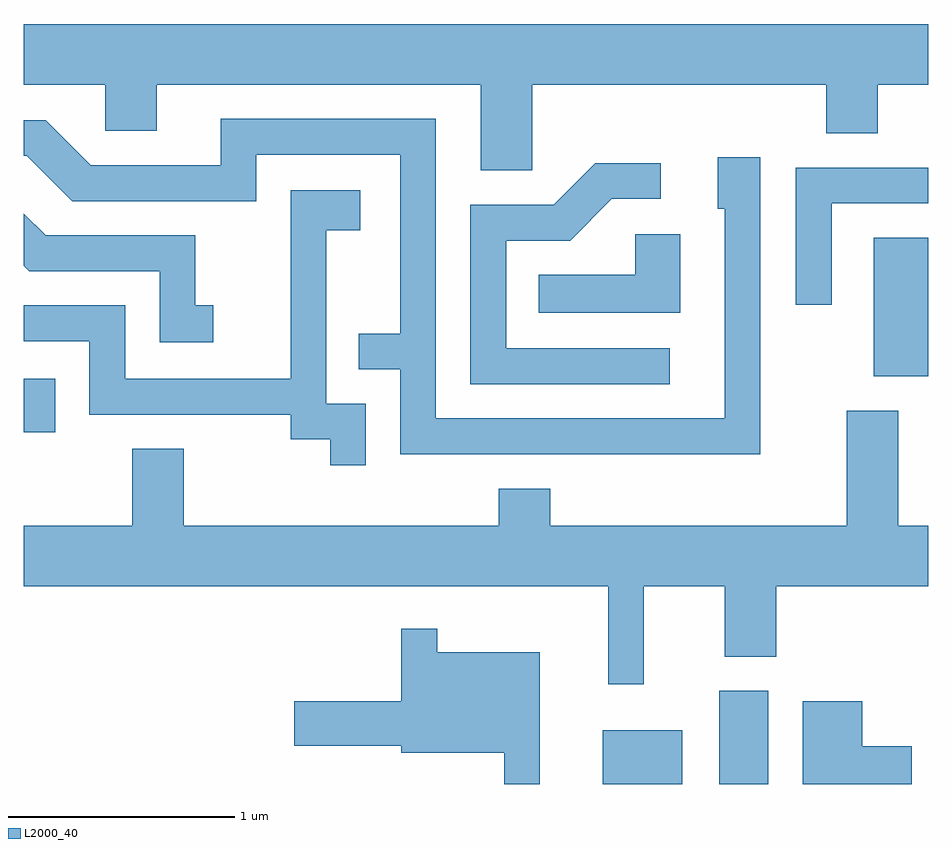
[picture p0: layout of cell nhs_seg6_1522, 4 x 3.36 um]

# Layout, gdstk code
import gdstk
lib = gdstk.Library(unit=1e-6, precision=1e-09)
def R(c, l, rs):  # rectangles x0, y0, x1, y1
    for r in rs: c.add(gdstk.rectangle(r[:2], r[2:], *l))
def P(c, l, *ps):  # polygons
    for p in ps: c.add(gdstk.Polygon(p, *l))
L2000_40 = (2000, 40)

nhs_seg6_1522 = lib.new_cell('nhs_seg6_1522')
R(nhs_seg6_1522, L2000_40, [(232.171,1660.162,232.524,1660.399), (232.686,1660.162,232.904,1660.574), (229.611,1661.718,229.749,1661.954), (233.371,1661.966,233.611,1662.579)])
P(nhs_seg6_1522, L2000_40, [(231.859,1663.256),(233.161,1663.256),(233.161,1663.041),(233.389,1663.041),(233.389,1663.256),(233.611,1663.256),(233.611,1663.524),(229.611,1663.524),(229.611,1663.256),(229.971,1663.256),(229.971,1663.051),(230.199,1663.051),(230.199,1663.256),(231.631,1663.256),(231.631,1662.876),(231.859,1662.876)],
  [(232.869,1662.934),(232.681,1662.934),(232.681,1662.706),(232.711,1662.706),(232.711,1661.779),(231.434,1661.779),(231.434,1663.104),(230.481,1663.104),(230.481,1662.899),(229.907,1662.899),(229.707,1663.099),(229.611,1663.099),(229.611,1662.941),(229.624,1662.941),(229.824,1662.741),(230.639,1662.741),(230.639,1662.946),(231.276,1662.946),(231.276,1662.154),(231.093,1662.154),(231.093,1661.996),(231.276,1661.996),(231.276,1661.621),(232.869,1661.621)],
  [(232.468,1662.089),(231.744,1662.089),(231.744,1662.566),(232.027,1662.566),(232.212,1662.751),(232.428,1662.751),(232.428,1662.909),(232.139,1662.909),(231.954,1662.724),(231.586,1662.724),(231.586,1661.931),(232.468,1661.931)],
  [(233.184,1662.731),(233.611,1662.731),(233.611,1662.889),(233.026,1662.889),(233.026,1662.283),(233.184,1662.283)],
  [(231.124,1661.844),(230.949,1661.844),(230.949,1662.611),(231.099,1662.611),(231.099,1662.789),(230.791,1662.789),(230.791,1661.954),(230.059,1661.954),(230.059,1662.279),(229.611,1662.279),(229.611,1662.121),(229.901,1662.121),(229.901,1661.796),(230.791,1661.796),(230.791,1661.686),(230.966,1661.686),(230.966,1661.573),(231.124,1661.573)],
  [(230.448,1662.279),(230.369,1662.279),(230.369,1662.589),(229.707,1662.589),(229.611,1662.685),(229.611,1662.454),(229.634,1662.431),(230.211,1662.431),(230.211,1662.116),(230.448,1662.116)],
  [(232.514,1662.594),(232.316,1662.594),(232.316,1662.414),(231.888,1662.414),(231.888,1662.246),(232.514,1662.246)],
  [(232.354,1661.036),(232.711,1661.036),(232.711,1660.726),(232.939,1660.726),(232.939,1661.036),(233.611,1661.036),(233.611,1661.304),(233.479,1661.304),(233.479,1661.814),(233.251,1661.814),(233.251,1661.304),(231.939,1661.304),(231.939,1661.469),(231.711,1661.469),(231.711,1661.304),(230.319,1661.304),(230.319,1661.644),(230.091,1661.644),(230.091,1661.304),(229.611,1661.304),(229.611,1661.036),(232.196,1661.036),(232.196,1660.603),(232.354,1660.603)],
  [(231.894,1660.744),(231.439,1660.744),(231.439,1660.848),(231.281,1660.848),(231.281,1660.529),(230.806,1660.529),(230.806,1660.331),(231.281,1660.331),(231.281,1660.301),(231.736,1660.301),(231.736,1660.162),(231.894,1660.162)],
  [(233.539,1660.329),(233.319,1660.329),(233.319,1660.529),(233.056,1660.529),(233.056,1660.162),(233.539,1660.162)])

lib.write_gds('nhs_seg6_1522.gds')
